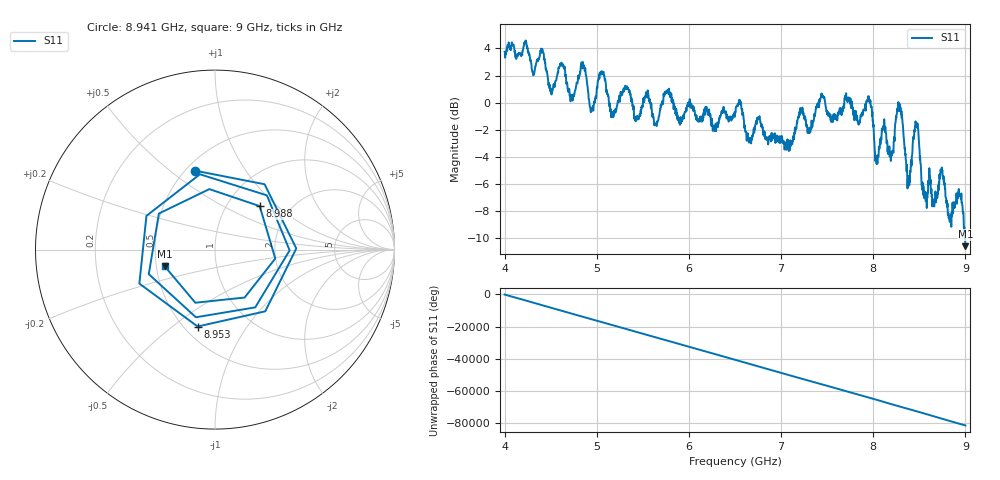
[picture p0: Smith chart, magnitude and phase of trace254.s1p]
! Created with skrf 1.8.0 (http://scikit-rf.org).
# Hz S RI R 50.0
!freq ReS11 ImS11
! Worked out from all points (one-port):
!   1601 points, 4 GHz to 9 GHz, reference 50 ohm
!   lowest |S11| = -10.6 dB at 9 GHz (marker M1), VSWR 1.84, Z = 27.7 - j5.62 ohm
!   |S11| at or under -10 dB: 8.993724 GHz to end of sweep
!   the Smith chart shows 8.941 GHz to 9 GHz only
!   S11 on the Smith chart (normalised r, x): 8.941 GHz: 0.56, +0.62; 8.953 GHz: 0.58, -0.62; 8.988 GHz: 1.41, +0.78; 9 GHz: 0.55, -0.11
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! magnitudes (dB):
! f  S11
! 4 GHz  3.7
! 4.409 GHz  4.0
! 4.5 GHz  1.0
! 4.625 GHz  2.8
! 4.731 GHz  0.3
! 4.853 GHz  2.7
! 4.944 GHz  -0.6
! 5.05 GHz  2.3
! 5.162 GHz  -1.1
! 5.25 GHz  0.1
! 5.875 GHz  -1.0
! 6.5 GHz  -0.7
! 7.125 GHz  -2.8
! 7.441 GHz  0.4
! 7.75 GHz  -0.1
! 7.959 GHz  0.1
! 8.041 GHz  -4.3
! 8.116 GHz  -1.7
! 8.197 GHz  -3.6
! 8.288 GHz  -0.6
! 8.375 GHz  -5.7
! 8.469 GHz  -1.5
! 8.562 GHz  -6.8
! 8.744 GHz  -4.8
! 8.941 GHz  -6.9
! 8.953 GHz  -7.1
! 8.988 GHz  -9.2
! 9 GHz  -10.6
